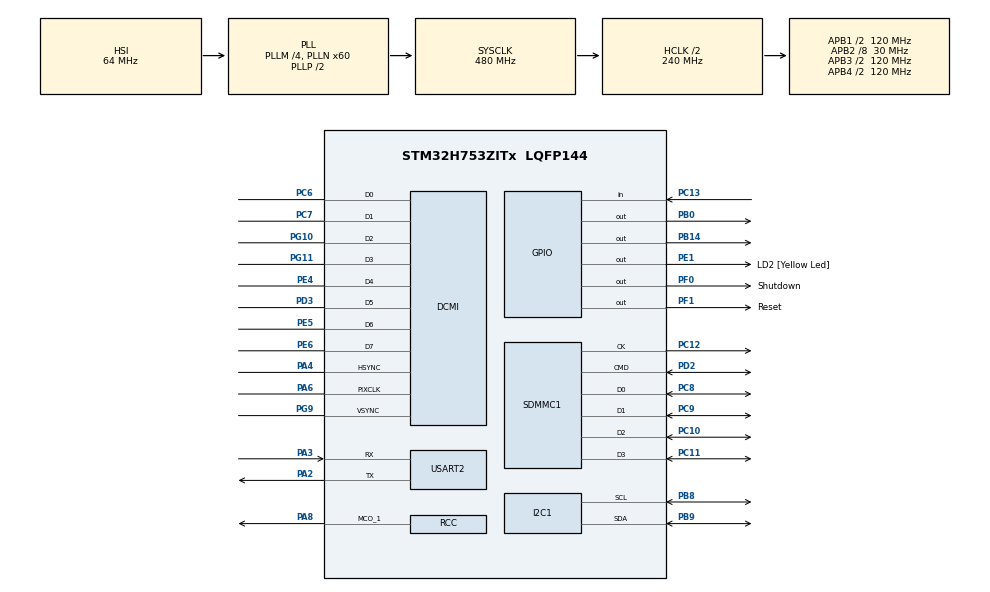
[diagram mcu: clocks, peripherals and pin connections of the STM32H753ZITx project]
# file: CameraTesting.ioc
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CORTEX_M7.CPU_DCache=Disabled
CORTEX_M7.CPU_ICache=Disabled
CORTEX_M7.MPU_Control=__NULL
CORTEX_M7.default_mode_Activation=1
DCMI.HSPolarity=DCMI_HSPOLARITY_HIGH
DCMI.JPEGMode=DCMI_JPEG_ENABLE
DCMI.PCKPolarity=DCMI_PCKPOLARITY_RISING
DCMI.VSPolarity=DCMI_VSPOLARITY_HIGH
Dma.DCMI.0.Direction=DMA_PERIPH_TO_MEMORY
Dma.DCMI.0.EventEnable=DISABLE
Dma.DCMI.0.FIFOMode=DMA_FIFOMODE_ENABLE
Dma.DCMI.0.FIFOThreshold=DMA_FIFO_THRESHOLD_FULL
Dma.DCMI.0.Instance=DMA1_Stream0
Dma.DCMI.0.MemBurst=DMA_MBURST_SINGLE
Dma.DCMI.0.MemDataAlignment=DMA_MDATAALIGN_WORD
Dma.DCMI.0.MemInc=DMA_MINC_ENABLE
Dma.DCMI.0.Mode=DMA_NORMAL
Dma.DCMI.0.PeriphBurst=DMA_PBURST_SINGLE
Dma.DCMI.0.PeriphDataAlignment=DMA_PDATAALIGN_WORD
Dma.DCMI.0.PeriphInc=DMA_PINC_DISABLE
Dma.DCMI.0.Polarity=HAL_DMAMUX_REQ_GEN_RISING
Dma.DCMI.0.Priority=DMA_PRIORITY_VERY_HIGH
Dma.DCMI.0.RequestNumber=1
Dma.DCMI.0.SignalID=NONE
Dma.DCMI.0.SyncEnable=DISABLE
Dma.DCMI.0.SyncPolarity=HAL_DMAMUX_SYNC_NO_EVENT
Dma.DCMI.0.SyncRequestNumber=1
Dma.DCMI.0.SyncSignalID=NONE
Dma.Request0=DCMI
FATFS._MAX_SS=4096
FATFS._USE_LFN=1
Mcu.Family=STM32H7
Mcu.Name=STM32H753ZITx
Mcu.Package=LQFP144
NUCLEO-H753ZI.BUTTON=1
NUCLEO-H753ZI.LD1=true
NUCLEO-H753ZI.LD2=true
NUCLEO-H753ZI.LD3=true
NUCLEO-H753ZI.VCP=true
NVIC.DCMI_IRQn=true\:5\:0\:true\:false\:true\:true\:true\:true
NVIC.DMA1_Stream0_IRQn=true\:0\:0\:false\:false\:true\:false\:true\:true
NVIC.EXTI15_10_IRQn=true\:0\:0\:false\:false\:true\:false\:true\:true
NVIC.PriorityGroup=NVIC_PRIORITYGROUP_4
PA2.Mode=Asynchronous
PA2.Signal=USART2_TX
PA3.Mode=Asynchronous
PA3.Signal=USART2_RX
PA4.Mode=Slave_8_bits_External_Synchro
PA4.Signal=DCMI_HSYNC
PA6.GPIO_PuPd=GPIO_PULLDOWN
PA6.GPIO_Speed=GPIO_SPEED_FREQ_VERY_HIGH
PA6.Mode=Slave_8_bits_External_Synchro
PA6.Signal=DCMI_PIXCLK
PA8.GPIO_Speed=GPIO_SPEED_FREQ_VERY_HIGH
PA8.Mode=Clock-out-1
PA8.Signal=RCC_MCO_1
PB0.Signal=GPIO_Output
PB14.Signal=GPIO_Output
PB8.GPIO_Pu=GPIO_PULLUP
PB8.Mode=I2C
PB8.Signal=I2C1_SCL
PB9.GPIO_Pu=GPIO_PULLUP
PB9.Mode=I2C
PB9.Signal=I2C1_SDA
PC10.Mode=SD_4_bits_Wide_bus
PC10.Signal=SDMMC1_D2
PC11.Mode=SD_4_bits_Wide_bus
PC11.Signal=SDMMC1_D3
PC12.Mode=SD_4_bits_Wide_bus
PC12.Signal=SDMMC1_CK
PC13.Signal=GPIO_Input
PC14-OSC32_IN\ (OSC32_IN).Signal=RCC_OSC32_IN
PC15-OSC32_OUT\ (OSC32_OUT).Signal=RCC_OSC32_OUT
PC6.GPIO_PuPd=GPIO_PULLDOWN
PC6.GPIO_Speed=GPIO_SPEED_FREQ_VERY_HIGH
PC6.Mode=Slave_8_bits_External_Synchro
PC6.Signal=DCMI_D0
PC7.GPIO_PuPd=GPIO_PULLDOWN
PC7.GPIO_Speed=GPIO_SPEED_FREQ_VERY_HIGH
PC7.Mode=Slave_8_bits_External_Synchro
PC7.Signal=DCMI_D1
PC8.Mode=SD_4_bits_Wide_bus
PC8.Signal=SDMMC1_D0
PC9.Mode=SD_4_bits_Wide_bus
PC9.Signal=SDMMC1_D1
PD2.Mode=SD_4_bits_Wide_bus
PD2.Signal=SDMMC1_CMD
PD3.GPIO_PuPd=GPIO_PULLDOWN
PD3.GPIO_Speed=GPIO_SPEED_FREQ_VERY_HIGH
PD3.Mode=Slave_8_bits_External_Synchro
PD3.Signal=DCMI_D5
PD8.Signal=USART3_TX
PD9.Signal=USART3_RX
PE1.GPIO_Label=LD2 [Yellow Led]
PE1.Signal=GPIO_Output
PE4.GPIO_PuPd=GPIO_PULLDOWN
PE4.GPIO_Speed=GPIO_SPEED_FREQ_VERY_HIGH
PE4.Mode=Slave_8_bits_External_Synchro
PE4.Signal=DCMI_D4
PE5.GPIO_PuPd=GPIO_PULLDOWN
PE5.GPIO_Speed=GPIO_SPEED_FREQ_VERY_HIGH
PE5.Mode=Slave_8_bits_External_Synchro
PE5.Signal=DCMI_D6
PE6.GPIO_PuPd=GPIO_PULLDOWN
PE6.GPIO_Speed=GPIO_SPEED_FREQ_VERY_HIGH
PE6.Mode=Slave_8_bits_External_Synchro
PE6.Signal=DCMI_D7
PF0.GPIO_Label=Shutdown
PF0.Signal=GPIO_Output
PF1.GPIO_Label=Reset
PF1.GPIO_PuPd=GPIO_PULLUP
PF1.Signal=GPIO_Output
PG10.GPIO_PuPd=GPIO_PULLDOWN
PG10.GPIO_Speed=GPIO_SPEED_FREQ_VERY_HIGH
PG10.Mode=Slave_8_bits_External_Synchro
PG10.Signal=DCMI_D2
PG11.GPIO_PuPd=GPIO_PULLDOWN
PG11.GPIO_Speed=GPIO_SPEED_FREQ_VERY_HIGH
PG11.Mode=Slave_8_bits_External_Synchro
PG11.Signal=DCMI_D3
PG9.Mode=Slave_8_bits_External_Synchro
PG9.Signal=DCMI_VSYNC
PH0-OSC_IN\ (PH0).Signal=RCC_OSC_IN
PH1-OSC_OUT\ (PH1).Signal=RCC_OSC_OUT
ProjectManager.HeapSize=0x200
ProjectManager.StackSize=0x400
ProjectManager.TargetToolchain=STM32CubeIDE
RCC.ADCFreq_Value=129000000
RCC.APB1Freq_Value=120000000
RCC.APB2Freq_Value=30000000
RCC.APB3Freq_Value=120000000
RCC.APB4Freq_Value=120000000
RCC.CortexFreq_Value=480000000
RCC.D1PPRE=RCC_APB3_DIV2
RCC.D2PPRE1=RCC_APB1_DIV2
RCC.D2PPRE2=RCC_APB2_DIV8
RCC.D3PPRE=RCC_APB4_DIV2
RCC.DIVM1=4
RCC.DIVN1=60
RCC.DIVQ1=4
RCC.HCLKFreq_Value=240000000
RCC.HPRE=RCC_HCLK_DIV2
RCC.HSE_VALUE=8000000
RCC.I2C123CLockSelection=RCC_I2C123CLKSOURCE_HSI
RCC.PLL2FRACN=0
RCC.PLL3FRACN=0
RCC.PLLFRACN=0
RCC.RCC_MCO1Source=RCC_MCO1SOURCE_HSI48
RCC.RCC_MCODiv1=RCC_MCODIV_2
RCC.SYSCLKFreq_VALUE=480000000
RCC.SYSCLKSource=RCC_SYSCLKSOURCE_PLLCLK
RCC.USBFreq_Value=240000000
SDMMC1.ClockDiv=10
USART2.VirtualMode-Asynchronous=VM_ASYNC
VP_FATFS_VS_SDIO.Mode=SDIO
VP_MEMORYMAP_VS_MEMORYMAP.Mode=CurAppReg
VP_NUCLEO-H753ZI_VS_BSP_COMMON.Mode=COMMON
board=NUCLEO-H753ZI

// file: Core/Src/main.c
/* USER CODE BEGIN Header */
/**
  ******************************************************************************
  * @file           : main.c
  * @brief          : Main program body
  ******************************************************************************
  * @attention
  *
  * Copyright (c) 2025 STMicroelectronics.
  * All rights reserved.
  *
  * This software is licensed under terms that can be found in the LICENSE file
  * in the root directory of this software component.
  * If no LICENSE file comes with this software, it is provided AS-IS.
  *
  ******************************************************************************
  */
/* USER CODE END Header */
#include "main.h"
#include "fatfs.h"

/* USER CODE BEGIN Includes */
#include <ov5640.h>
/* USER CODE END Includes */

/* USER CODE BEGIN PD */
#define OV5640_I2C_ADDRESS    (0x3C)  // OV5640 I2C address (0x3C << 1)

// Optional camera control pins (you can configure these in CubeMX if needed)
#define CAM_RESET_PIN         GPIO_PIN_0
#define CAM_RESET_PORT        GPIOB
#define CAM_PWDN_PIN          GPIO_PIN_14
#define CAM_PWDN_PORT         GPIOB

#define FRAME_WIDTH  640
#define FRAME_HEIGHT 480
#define FRAME_BUFFER_SIZE (FRAME_WIDTH * FRAME_HEIGHT)

#define True 							1
#define False 						0
/* USER CODE END PD */

COM_InitTypeDef BspCOMInit;

DCMI_HandleTypeDef hdcmi;
DMA_HandleTypeDef hdma_dcmi;

I2C_HandleTypeDef hi2c1;

SD_HandleTypeDef hsd1;

UART_HandleTypeDef huart2;

/* USER CODE BEGIN PV */
OV5640_Object_t cam;
OV5640_IO_t io;
int32_t ret;
uint32_t camera_id;

uint8_t frame_buffer[FRAME_BUFFER_SIZE] __attribute__((section(".sram1")));
volatile uint8_t camImgReady = 0;

char TxBuffer[250];
/* USER CODE END PV */

void SystemClock_Config(void);
static void MX_GPIO_Init(void);
static void MX_DMA_Init(void);
static void MX_I2C1_Init(void);
static void MX_DCMI_Init(void);
static void MX_USART2_UART_Init(void);
static void MX_SDMMC1_SD_Init(void);
/* USER CODE BEGIN PFP */
// Camera I2C communication functions
static int32_t OV5640_IO_Init(void);
static int32_t OV5640_IO_DeInit(void);
static int32_t OV5640_IO_WriteReg(uint16_t DevAddr, uint16_t Reg, uint8_t *pData, uint16_t Length);
static int32_t OV5640_IO_ReadReg(uint16_t DevAddr, uint16_t Reg, uint8_t *pData, uint16_t Length);
static int32_t OV5640_IO_GetTick(void);
static void Camera_IO_Init(void);
static void Camera_Reset(void);
static void Camera_PowerUp(void);
static void capture_image(void);
static void testSDCard(void);
/* USER CODE END PFP */

/* USER CODE BEGIN 0 */

/**
  * @brief  Test OV5640 using the BSP driver functions
  * @param  None
  * @retval None
  */
void InitOV5640(void)
{
  Camera_PowerUp();
  Camera_Reset();
	Camera_PowerUp();

  printf("=== OV5640 BSP Driver Test ===\r\n");

  // Initialize I/O structure
  Camera_IO_Init();

  // Register bus I/O
  printf("Registering BSP I/O...\r\n");
  ret = OV5640_RegisterBusIO(&cam, &io);
  if (ret == OV5640_OK) {
    printf("✓ BSP I/O registration successful\r\n");
  } else {
    printf("✗ BSP I/O registration failed (ret=%ld)\r\n", ret);
    return;
  }

  // Test ReadID function
  printf("Testing OV5640_ReadID()...\r\n");
  ret = OV5640_ReadID(&cam, &camera_id);
  if (ret == OV5640_OK) {
    printf("✓ OV5640_ReadID successful: ID=0x%04lX\r\n", camera_id);
    if (camera_id == 0x5640) {
      printf("✓ Correct OV5640 chip detected\r\n");
      BSP_LED_On(LED_BLUE);
    } else {
      printf("⚠ Unexpected chip ID (expected 0x5640)\r\n");
    }
  } else {
    printf("✗ OV5640_ReadID failed (ret=%ld)\r\n", ret);
  }

  // Test camera capabilities
  OV5640_Capabilities_t caps;
  printf("Testing OV5640_GetCapabilities()...\r\n");
  ret = OV5640_GetCapabilities(&cam, &caps);
  if (ret == OV5640_OK) {
    printf("✓ Camera capabilities read successfully\r\n");
    printf("  Resolution config: %ld\r\n", caps.Config_Resolution);
    printf("  Brightness config: %ld\r\n", caps.Config_Brightness);
    printf("  Contrast config: %ld\r\n", caps.Config_Contrast);
  } else {
    printf("✗ Failed to read camera capabilities (ret=%ld)\r\n", ret);
  }

  // Test camera initialization
  printf("Testing OV5640_Init()...\r\n");
  ret = OV5640_Init(&cam, OV5640_R640x480, OV5640_RGB565);
  if (ret == OV5640_OK) {
  	ret = OV5640_SetPCLK(&cam, OV5640_PCLK_24M);
  	if (ret == OV5640_OK) {
			printf("✓ OV5640_Init successful (VGA, JPEG)\r\n");
			printf("✓ Camera is ready for image capture!\r\n");
			BSP_LED_On(LED_GREEN);
  	} else {
      printf("✗ OV5640_SetPCLK failed (ret=%ld)\r\n", ret);
    }
  }
  else {
    printf("✗ OV5640_Init failed (ret=%ld)\r\n", ret);
  }

  printf("=============================\r\n\r\n");
}
/* USER CODE END 0 */

int main(void)
{

  /* MCU Configuration--------------------------------------------------------*/

  /* Reset of all peripherals, Initializes the Flash interface and the Systick. */
  HAL_Init();

  /* Configure the system clock */
  SystemClock_Config();

  /* Initialize all configured peripherals */
  MX_GPIO_Init();
  MX_DMA_Init();
  MX_I2C1_Init();
  MX_DCMI_Init();
  MX_USART2_UART_Init();
  MX_SDMMC1_SD_Init();
  MX_FATFS_Init();

  /* Initialize leds */
  BSP_LED_Init(LED_GREEN);
  BSP_LED_Init(LED_BLUE);
  BSP_LED_Init(LED_RED);

  /* Initialize USER push-button, will be used to trigger an interrupt each time it's pressed.*/
  BSP_PB_Init(BUTTON_USER, BUTTON_MODE_EXTI);

  /* Initialize COM1 port (115200, 8 bits (7-bit data + 1 stop bit), no parity */
  BspCOMInit.BaudRate   = 115200;
  BspCOMInit.WordLength = COM_WORDLENGTH_8B;
  BspCOMInit.StopBits   = COM_STOPBITS_1;
  BspCOMInit.Parity     = COM_PARITY_NONE;
  BspCOMInit.HwFlowCtl  = COM_HWCONTROL_NONE;
  if (BSP_COM_Init(COM1, &BspCOMInit) != BSP_ERROR_NONE)
  {
    Error_Handler();
  }

  /* Infinite loop */
  /* USER CODE BEGIN WHILE */
  InitOV5640();
  OV5640_Start(&cam);
  printf("Taking Photo\r\n");
  capture_image();

  testSDCard();

  while (1)
  {
    /* USER CODE END WHILE */

    /* USER CODE BEGIN 3 */
  	HAL_Delay(10);
  }
  /* USER CODE END 3 */
}

void SystemClock_Config(void)
{
  RCC_OscInitTypeDef RCC_OscInitStruct = {0};
  RCC_ClkInitTypeDef RCC_ClkInitStruct = {0};

  /** Supply configuration update enable
  */
  HAL_PWREx_ConfigSupply(PWR_LDO_SUPPLY);

  /** Configure the main internal regulator output voltage
  */
  __HAL_PWR_VOLTAGESCALING_CONFIG(PWR_REGULATOR_VOLTAGE_SCALE0);

  while(!__HAL_PWR_GET_FLAG(PWR_FLAG_VOSRDY)) {}

  /** Initializes the RCC Oscillators according to the specified parameters
  * in the RCC_OscInitTypeDef structure.
  */
  RCC_OscInitStruct.OscillatorType = RCC_OSCILLATORTYPE_HSI48|RCC_OSCILLATORTYPE_HSI;
  RCC_OscInitStruct.HSIState = RCC_HSI_DIV1;
  RCC_OscInitStruct.HSICalibrationValue = RCC_HSICALIBRATION_DEFAULT;
  RCC_OscInitStruct.HSI48State = RCC_HSI48_ON;
  RCC_OscInitStruct.PLL.PLLState = RCC_PLL_ON;
  RCC_OscInitStruct.PLL.PLLSource = RCC_PLLSOURCE_HSI;
  RCC_OscInitStruct.PLL.PLLM = 4;
  RCC_OscInitStruct.PLL.PLLN = 60;
  RCC_OscInitStruct.PLL.PLLP = 2;
  RCC_OscInitStruct.PLL.PLLQ = 4;
  RCC_OscInitStruct.PLL.PLLR = 2;
  RCC_OscInitStruct.PLL.PLLRGE = RCC_PLL1VCIRANGE_3;
  RCC_OscInitStruct.PLL.PLLVCOSEL = RCC_PLL1VCOWIDE;
  RCC_OscInitStruct.PLL.PLLFRACN = 0;
  if (HAL_RCC_OscConfig(&RCC_OscInitStruct) != HAL_OK)
  {
    Error_Handler();
  }

  /** Initializes the CPU, AHB and APB buses clocks
  */
  RCC_ClkInitStruct.ClockType = RCC_CLOCKTYPE_HCLK|RCC_CLOCKTYPE_SYSCLK
                              |RCC_CLOCKTYPE_PCLK1|RCC_CLOCKTYPE_PCLK2
                              |RCC_CLOCKTYPE_D3PCLK1|RCC_CLOCKTYPE_D1PCLK1;
  RCC_ClkInitStruct.SYSCLKSource = RCC_SYSCLKSOURCE_PLLCLK;
  RCC_ClkInitStruct.SYSCLKDivider = RCC_SYSCLK_DIV1;
  RCC_ClkInitStruct.AHBCLKDivider = RCC_HCLK_DIV2;
  RCC_ClkInitStruct.APB3CLKDivider = RCC_APB3_DIV2;
  RCC_ClkInitStruct.APB1CLKDivider = RCC_APB1_DIV2;
  RCC_ClkInitStruct.APB2CLKDivider = RCC_APB2_DIV8;
  RCC_ClkInitStruct.APB4CLKDivider = RCC_APB4_DIV2;

  if (HAL_RCC_ClockConfig(&RCC_ClkInitStruct, FLASH_LATENCY_4) != HAL_OK)
  {
    Error_Handler();
  }
  HAL_RCC_MCOConfig(RCC_MCO1, RCC_MCO1SOURCE_HSI48, RCC_MCODIV_2);
}

static void MX_DCMI_Init(void)
{

  hdcmi.Instance = DCMI;
  hdcmi.Init.SynchroMode = DCMI_SYNCHRO_HARDWARE;
  hdcmi.Init.PCKPolarity = DCMI_PCKPOLARITY_RISING;
  hdcmi.Init.VSPolarity = DCMI_VSPOLARITY_HIGH;
  hdcmi.Init.HSPolarity = DCMI_HSPOLARITY_HIGH;
  hdcmi.Init.CaptureRate = DCMI_CR_ALL_FRAME;
  hdcmi.Init.ExtendedDataMode = DCMI_EXTEND_DATA_8B;
  hdcmi.Init.JPEGMode = DCMI_JPEG_ENABLE;
  hdcmi.Init.ByteSelectMode = DCMI_BSM_ALL;
  hdcmi.Init.ByteSelectStart = DCMI_OEBS_ODD;
  hdcmi.Init.LineSelectMode = DCMI_LSM_ALL;
  hdcmi.Init.LineSelectStart = DCMI_OELS_ODD;
  if (HAL_DCMI_Init(&hdcmi) != HAL_OK)
  {
    Error_Handler();
  }

}

static void MX_I2C1_Init(void)
{

  hi2c1.Instance = I2C1;
  hi2c1.Init.Timing = 0x10707DBC;
  hi2c1.Init.OwnAddress1 = 0;
  hi2c1.Init.AddressingMode = I2C_ADDRESSINGMODE_7BIT;
  hi2c1.Init.DualAddressMode = I2C_DUALADDRESS_DISABLE;
  hi2c1.Init.OwnAddress2 = 0;
  hi2c1.Init.OwnAddress2Masks = I2C_OA2_NOMASK;
  hi2c1.Init.GeneralCallMode = I2C_GENERALCALL_DISABLE;
  hi2c1.Init.NoStretchMode = I2C_NOSTRETCH_DISABLE;
  if (HAL_I2C_Init(&hi2c1) != HAL_OK)
  {
    Error_Handler();
  }

  /** Configure Analogue filter
  */
  if (HAL_I2CEx_ConfigAnalogFilter(&hi2c1, I2C_ANALOGFILTER_ENABLE) != HAL_OK)
  {
    Error_Handler();
  }

  /** Configure Digital filter
  */
  if (HAL_I2CEx_ConfigDigitalFilter(&hi2c1, 0) != HAL_OK)
  {
    Error_Handler();
  }

}

static void MX_SDMMC1_SD_Init(void)
{

  hsd1.Instance = SDMMC1;
  hsd1.Init.ClockEdge = SDMMC_CLOCK_EDGE_RISING;
  hsd1.Init.ClockPowerSave = SDMMC_CLOCK_POWER_SAVE_DISABLE;
  hsd1.Init.BusWide = SDMMC_BUS_WIDE_4B;
  hsd1.Init.HardwareFlowControl = SDMMC_HARDWARE_FLOW_CONTROL_DISABLE;
  hsd1.Init.ClockDiv = 10;

}

static void MX_USART2_UART_Init(void)
{

  huart2.Instance = USART2;
  huart2.Init.BaudRate = 115200;
  huart2.Init.WordLength = UART_WORDLENGTH_8B;
  huart2.Init.StopBits = UART_STOPBITS_1;
  huart2.Init.Parity = UART_PARITY_NONE;
  huart2.Init.Mode = UART_MODE_TX_RX;
  huart2.Init.HwFlowCtl = UART_HWCONTROL_NONE;
  huart2.Init.OverSampling = UART_OVERSAMPLING_16;
  huart2.Init.OneBitSampling = UART_ONE_BIT_SAMPLE_DISABLE;
  huart2.Init.ClockPrescaler = UART_PRESCALER_DIV1;
  huart2.AdvancedInit.AdvFeatureInit = UART_ADVFEATURE_NO_INIT;
  if (HAL_UART_Init(&huart2) != HAL_OK)
  {
    Error_Handler();
  }
  if (HAL_UARTEx_SetTxFifoThreshold(&huart2, UART_TXFIFO_THRESHOLD_1_8) != HAL_OK)
  {
    Error_Handler();
  }
  if (HAL_UARTEx_SetRxFifoThreshold(&huart2, UART_RXFIFO_THRESHOLD_1_8) != HAL_OK)
  {
    Error_Handler();
  }
  if (HAL_UARTEx_DisableFifoMode(&huart2) != HAL_OK)
  {
    Error_Handler();
  }

}

static void MX_DMA_Init(void)
{

  /* DMA controller clock enable */
  __HAL_RCC_DMA1_CLK_ENABLE();

  /* DMA interrupt init */
  /* DMA1_Stream0_IRQn interrupt configuration */
  HAL_NVIC_SetPriority(DMA1_Stream0_IRQn, 0, 0);
  HAL_NVIC_EnableIRQ(DMA1_Stream0_IRQn);

}

static void MX_GPIO_Init(void)
{
  GPIO_InitTypeDef GPIO_InitStruct = {0};

  /* GPIO Ports Clock Enable */
  __HAL_RCC_GPIOE_CLK_ENABLE();
  __HAL_RCC_GPIOC_CLK_ENABLE();
  __HAL_RCC_GPIOF_CLK_ENABLE();
  __HAL_RCC_GPIOH_CLK_ENABLE();
  __HAL_RCC_GPIOA_CLK_ENABLE();
  __HAL_RCC_GPIOD_CLK_ENABLE();
  __HAL_RCC_GPIOG_CLK_ENABLE();
  __HAL_RCC_GPIOB_CLK_ENABLE();

  /*Configure GPIO pin Output Level */
  HAL_GPIO_WritePin(GPIOF, Shutdown_Pin|Reset_Pin, GPIO_PIN_RESET);

  /*Configure GPIO pin Output Level */
  HAL_GPIO_WritePin(LD2_GPIO_Port, LD2_Pin, GPIO_PIN_RESET);

  /*Configure GPIO pin : Shutdown_Pin */
  GPIO_InitStruct.Pin = Shutdown_Pin;
  GPIO_InitStruct.Mode = GPIO_MODE_OUTPUT_PP;
  GPIO_InitStruct.Pull = GPIO_NOPULL;
  GPIO_InitStruct.Speed = GPIO_SPEED_FREQ_LOW;
  HAL_GPIO_Init(Shutdown_GPIO_Port, &GPIO_InitStruct);

  /*Configure GPIO pin : Reset_Pin */
  GPIO_InitStruct.Pin = Reset_Pin;
  GPIO_InitStruct.Mode = GPIO_MODE_OUTPUT_PP;
  GPIO_InitStruct.Pull = GPIO_PULLUP;
  GPIO_InitStruct.Speed = GPIO_SPEED_FREQ_LOW;
  HAL_GPIO_Init(Reset_GPIO_Port, &GPIO_InitStruct);

  /*Configure GPIO pin : PA8 */
  GPIO_InitStruct.Pin = GPIO_PIN_8;
  GPIO_InitStruct.Mode = GPIO_MODE_AF_PP;
  GPIO_InitStruct.Pull = GPIO_NOPULL;
  GPIO_InitStruct.Speed = GPIO_SPEED_FREQ_VERY_HIGH;
  GPIO_InitStruct.Alternate = GPIO_AF0_MCO;
  HAL_GPIO_Init(GPIOA, &GPIO_InitStruct);

  /*Configure GPIO pin : LD2_Pin */
  GPIO_InitStruct.Pin = LD2_Pin;
  GPIO_InitStruct.Mode = GPIO_MODE_OUTPUT_PP;
  GPIO_InitStruct.Pull = GPIO_NOPULL;
  GPIO_InitStruct.Speed = GPIO_SPEED_FREQ_LOW;
  HAL_GPIO_Init(LD2_GPIO_Port, &GPIO_InitStruct);

}

/* USER CODE BEGIN 4 */
/**
  * @brief  Captures a frame from the camera using DCMI and DMA.
  * @retval None
  */
static void capture_image(void)
{
  camImgReady = False;

  printf("Starting image capture...\r\n");

  if (HAL_DCMI_Start_DMA(&hdcmi, DCMI_MODE_SNAPSHOT, (uint32_t)frame_buffer, FRAME_BUFFER_SIZE / 4) != HAL_OK)
  {
    printf("✗ Failed to start DCMI DMA\r\n");
    Error_Handler();
  }

  // Wait for frame ready
  while (camImgReady == False)
  {
    HAL_Delay(1);
  }

  printf("✓ Frame captured into RAM\r\n");

  // Optional: Print a small portion of the data

  /*
  for (int i = 0; i < 32; i++) {
    printf("%02X ", frame_buffer[i]);
  }
  */
}

static void testSDCard(void)
{
	FATFS FatFs;
	  FIL Fil;
	  FRESULT FR_Status;
	  FATFS *FS_Ptr;
	  UINT RWC, WWC; // Read/Write Word Counter
	  DWORD FreeClusters;
	  uint32_t TotalSize, FreeSpace;
	  char RW_Buffer[200];
	  do
	  {
	    //------------------[ Mount The SD Card ]--------------------
	    FR_Status = f_mount(&FatFs, SDPath, 1);
	    if (FR_Status != FR_OK)
	    {
	      sprintf(TxBuffer, "Error! While Mounting SD Card, Error Code: (%i)\r\n", FR_Status);
	      printf(TxBuffer);
	      break;
	    }
	    sprintf(TxBuffer, "SD Card Mounted Successfully! \r\n\n");
	    printf(TxBuffer);
	    //------------------[ Get & Print The SD Card Size & Free Space ]--------------------
	    f_getfree("", &FreeClusters, &FS_Ptr);
	    TotalSize = (uint32_t)((FS_Ptr->n_fatent - 2) * FS_Ptr->csize * 0.5);
	    FreeSpace = (uint32_t)(FreeClusters * FS_Ptr->csize * 0.5);
	    sprintf(TxBuffer, "Total SD Card Size: %lu Bytes\r\n", TotalSize);
	    printf(TxBuffer);
	    sprintf(TxBuffer, "Free SD Card Space: %lu Bytes\r\n\n", FreeSpace);
	    printf(TxBuffer);
	    //------------------[ Open A Text File For Write & Write Data ]--------------------
	    //Open the file
	    FR_Status = f_open(&Fil, "MyTextFile.txt", FA_WRITE | FA_READ | FA_CREATE_ALWAYS);
	    if(FR_Status != FR_OK)
	    {
	      sprintf(TxBuffer, "Error! While Creating/Opening A New Text File, Error Code: (%i)\r\n", FR_Status);
	      printf(TxBuffer);
	      break;
	    }
	    sprintf(TxBuffer, "Text File Created & Opened! Writing Data To The Text File..\r\n\n");
	    printf(TxBuffer);
	    // (1) Write Data To The Text File [ Using f_puts() Function ]
	    f_puts("Hello! From STM32 To SD Card Over SDMMC, Using f_puts()\n", &Fil);
	    // (2) Write Data To The Text File [ Using f_write() Function ]
	    strcpy(RW_Buffer, "Hello! From STM32 To SD Card Over SDMMC, Using f_write()\r\n");
	    f_write(&Fil, RW_Buffer, strlen(RW_Buffer), &WWC);
	    // Close The File
	    f_close(&Fil);
	    //------------------[ Open A Text File For Read & Read Its Data ]--------------------
	    // Open The File
	    FR_Status = f_open(&Fil, "MyTextFile.txt", FA_READ);
	    if(FR_Status != FR_OK)
	    {
	      sprintf(TxBuffer, "Error! While Opening (MyTextFile.txt) File For Read.. \r\n");
	      printf(TxBuffer);
	      break;
	    }
	    // (1) Read The Text File's Data [ Using f_gets() Function ]
	    f_gets(RW_Buffer, sizeof(RW_Buffer), &Fil);
	    sprintf(TxBuffer, "Data Read From (MyTextFile.txt) Using f_gets():%s", RW_Buffer);
	    printf(TxBuffer);
	    // (2) Read The Text File's Data [ Using f_read() Function ]
	    f_read(&Fil, RW_Buffer, f_size(&Fil), &RWC);
	    sprintf(TxBuffer, "Data Read From (MyTextFile.txt) Using f_read():%s", RW_Buffer);
	    printf(TxBuffer);
	    // Close The File
	    f_close(&Fil);
	    sprintf(TxBuffer, "File Closed! \r\n\n");
	    printf(TxBuffer);
	    //------------------[ Open An Existing Text File, Update Its Content, Read It Back ]--------------------
	    // (1) Open The Existing File For Write (Update)
	    FR_Status = f_open(&Fil, "MyTextFile.txt", FA_OPEN_EXISTING | FA_WRITE);
	    FR_Status = f_lseek(&Fil, f_size(&Fil)); // Move The File Pointer To The EOF (End-Of-File)
	    if(FR_Status != FR_OK)
	    {
	      sprintf(TxBuffer, "Error! While Opening (MyTextFile.txt) File For Update.. \r\n");
	      printf(TxBuffer);
	      break;
	    }
	    // (2) Write New Line of Text Data To The File
	    FR_Status = f_puts("This New Line Was Added During File Update!\r\n", &Fil);
	    f_close(&Fil);
	    memset(RW_Buffer,'\0',sizeof(RW_Buffer)); // Clear The Buffer
	    // (3) Read The Contents of The Text File After The Update
	    FR_Status = f_open(&Fil, "MyTextFile.txt", FA_READ); // Open The File For Read
	    f_read(&Fil, RW_Buffer, f_size(&Fil), &RWC);
	    sprintf(TxBuffer, "Data Read From (MyTextFile.txt) After Update:\r\n%s", RW_Buffer);
	    printf(TxBuffer);
	    f_close(&Fil);
	    //------------------[ Delete The Text File ]--------------------
	    // Delete The File
	    /*
	    FR_Status = f_unlink(MyTextFile.txt);
	    if (FR_Status != FR_OK){
	        sprintf(TxBuffer, "Error! While Deleting The (MyTextFile.txt) File.. \r\n");
	        USC_CDC_Print(TxBuffer);
	    }
	    */
	  } while(0);
	  //------------------[ Test Complete! Unmount The SD Card ]--------------------
	  FR_Status = f_mount(NULL, "", 0);
	  if (FR_Status != FR_OK)
	  {
	      sprintf(TxBuffer, "\r\nError! While Un-mounting SD Card, Error Code: (%i)\r\n", FR_Status);
	      printf(TxBuffer);
	  } else{
	      sprintf(TxBuffer, "\r\nSD Card Un-mounted Successfully! \r\n");
	      printf(TxBuffer);
	  }
}

void HAL_DCMI_FrameEventCallback(DCMI_HandleTypeDef *hdcmi)
{
	printf("HAL_DCMI_FrameEventCallback fired!\r\n");
	camImgReady = True;
	HAL_DCMI_Stop(hdcmi);
}

/**
  * @brief  Initialize Camera I/O structure
  * @param  None
  * @retval None
  */
static void Camera_IO_Init(void)
{
  // Configure the camera I/O structure with function pointers
  io.Init       = OV5640_IO_Init;
  io.DeInit     = OV5640_IO_DeInit;
  io.Address    = OV5640_I2C_ADDRESS;
  io.WriteReg   = OV5640_IO_WriteReg;
  io.ReadReg    = OV5640_IO_ReadReg;
  io.GetTick    = OV5640_IO_GetTick;
  camImgReady = 0;
}

/**
  * @brief  Initialize Camera I2C communication
  * @param  None
  * @retval 0 if OK, -1 if error
  */
static int32_t OV5640_IO_Init(void)
{
  // I2C is already initialized in MX_I2C1_Init()
  // Could add additional initialization here if needed
  return 0;
}

/**
  * @brief  Deinitialize Camera I2C communication
  * @param  None
  * @retval 0 if OK, -1 if error
  */
static int32_t OV5640_IO_DeInit(void)
{
  // Could add deinitialization code here if needed
  return 0;
}

/**
  * @brief  Write camera register via I2C
  * @param  DevAddr: Device I2C address
  * @param  Reg: Register address
  * @param  pData: Pointer to data buffer
  * @param  Length: Data length
  * @retval 0 if OK, -1 if error
  */
static int32_t OV5640_IO_WriteReg(uint16_t DevAddr, uint16_t Reg, uint8_t *pData, uint16_t Length)
{
  HAL_StatusTypeDef status;

  // Use the DevAddr parameter, shifted left by 1 for HAL I2C functions
  status = HAL_I2C_Mem_Write(&hi2c1, (DevAddr << 1), Reg, I2C_MEMADD_SIZE_16BIT, pData, Length, HAL_MAX_DELAY);
  if (status != HAL_OK) {
    return OV5640_ERROR;
  }

  return OV5640_OK;
}

/**
  * @brief  Read camera register via I2C
  * @param  DevAddr: Device I2C address
  * @param  Reg: Register address
  * @param  pData: Pointer to data buffer
  * @param  Length: Data length
  * @retval 0 if OK, -1 if error
  */
static int32_t OV5640_IO_ReadReg(uint16_t DevAddr, uint16_t Reg, uint8_t *pData, uint16_t Length)
{
  HAL_StatusTypeDef status;

  // Use the DevAddr parameter, shifted left by 1 for HAL I2C functions
  status = HAL_I2C_Mem_Read(&hi2c1, (DevAddr << 1), Reg, I2C_MEMADD_SIZE_16BIT, pData, Length, HAL_MAX_DELAY);
  if (status != HAL_OK) {
    return OV5640_ERROR;
  }

  return OV5640_OK;
}

/**
  * @brief  Get system tick for timing operations
  * @param  None
  * @retval Current tick value
  */
static int32_t OV5640_IO_GetTick(void)
{
  return HAL_GetTick();
}

/**
  * @brief  Reset the camera module
  * @param  None
  * @retval None
  */
static void Camera_Reset(void)
{
  // Pull reset pin low for at least 1ms, then high
	printf("Resetting up camera...\r\n");
  HAL_GPIO_WritePin(Reset_GPIO_Port, Reset_Pin, GPIO_PIN_RESET);
  HAL_Delay(2);  // Hold reset for 2ms
  HAL_GPIO_WritePin(Reset_GPIO_Port, Reset_Pin, GPIO_PIN_SET);
  HAL_Delay(60); // Allow camera to boot up
  printf("=============================\r\n\r\n");
}

/**
  * @brief  Power up the camera module
  * @param  None
  * @retval None
  */
static void Camera_PowerUp(void)
{
  // Set power down pin low to power up the camera
	printf("Powering up camera...\r\n");
  HAL_GPIO_WritePin(Shutdown_GPIO_Port, Shutdown_Pin, GPIO_PIN_RESET);
  HAL_Delay(60); // Allow camera to boot up
  printf("=============================\r\n\r\n");

}
/* USER CODE END 4 */

void Error_Handler(void)
{
  __disable_irq();
  while (1)
  {
  }
}
